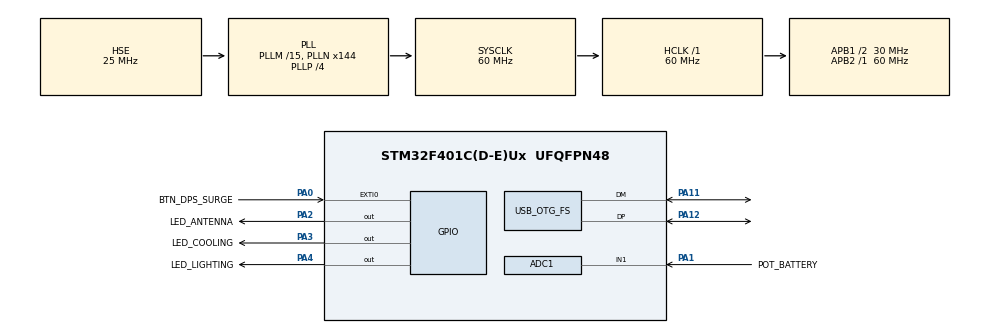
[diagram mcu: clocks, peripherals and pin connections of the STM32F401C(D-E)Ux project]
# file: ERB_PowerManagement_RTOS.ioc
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ADC1.Channel-0\#ChannelRegularConversion=ADC_CHANNEL_1
ADC1.NbrOfConversionFlag=1
ADC1.Rank-0\#ChannelRegularConversion=1
ADC1.SamplingTime-0\#ChannelRegularConversion=ADC_SAMPLETIME_3CYCLES
ADC1.master=1
FREERTOS.Queues01=queueBatteryHandle,4,uint16_t,0,Dynamic,NULL,NULL
FREERTOS.Tasks01=taskBattery,24,128,StartTaskBattery,Default,NULL,Dynamic,NULL,NULL;taskPower,32,128,StartTaskPower,Default,NULL,Dynamic,NULL,NULL;taskSurge,48,128,StartTaskSurge,Default,NULL,Dynamic,NULL,NULL
Mcu.Family=STM32F4
Mcu.Name=STM32F401C(D-E)Ux
Mcu.Package=UFQFPN48
NVIC.EXTI0_IRQn=true\:5\:0\:false\:false\:true\:true\:true\:true\:true
NVIC.OTG_FS_IRQn=true\:5\:0\:false\:false\:true\:true\:false\:true\:true
NVIC.PriorityGroup=NVIC_PRIORITYGROUP_4
NVIC.TIM1_UP_TIM10_IRQn=true\:15\:0\:false\:false\:true\:false\:false\:true\:true
NVIC.TimeBase=TIM1_UP_TIM10_IRQn
NVIC.TimeBaseIP=TIM1
PA0-WKUP.GPIO_Label=BTN_DPS_SURGE
PA0-WKUP.GPIO_ModeDefaultEXTI=GPIO_MODE_IT_FALLING
PA0-WKUP.GPIO_PuPd=GPIO_PULLUP
PA0-WKUP.Signal=GPXTI0
PA1.GPIO_Label=POT_BATTERY
PA1.Signal=ADCx_IN1
PA11.Mode=Device_Only
PA11.Signal=USB_OTG_FS_DM
PA12.Mode=Device_Only
PA12.Signal=USB_OTG_FS_DP
PA13.Mode=Serial_Wire
PA13.Signal=SYS_JTMS-SWDIO
PA14.Mode=Serial_Wire
PA14.Signal=SYS_JTCK-SWCLK
PA2.GPIO_Label=LED_ANTENNA
PA2.Signal=GPIO_Output
PA3.GPIO_Label=LED_COOLING
PA3.Signal=GPIO_Output
PA4.GPIO_Label=LED_LIGHTING
PA4.Signal=GPIO_Output
PH0\ -\ OSC_IN.Mode=HSE-External-Oscillator
PH0\ -\ OSC_IN.Signal=RCC_OSC_IN
PH1\ -\ OSC_OUT.Mode=HSE-External-Oscillator
PH1\ -\ OSC_OUT.Signal=RCC_OSC_OUT
ProjectManager.HeapSize=0x200
ProjectManager.StackSize=0x400
ProjectManager.TargetToolchain=STM32CubeIDE
RCC.48MHZClocksFreq_Value=48000000
RCC.AHBFreq_Value=60000000
RCC.APB1CLKDivider=RCC_HCLK_DIV2
RCC.APB1Freq_Value=30000000
RCC.APB1TimFreq_Value=60000000
RCC.APB2Freq_Value=60000000
RCC.APB2TimFreq_Value=60000000
RCC.CortexFreq_Value=60000000
RCC.HCLKFreq_Value=60000000
RCC.HSE_VALUE=25000000
RCC.HSI_VALUE=16000000
RCC.LSE_VALUE=32768
RCC.PLLM=15
RCC.PLLN=144
RCC.PLLP=RCC_PLLP_DIV4
RCC.PLLQ=5
RCC.SYSCLKFreq_VALUE=60000000
RCC.SYSCLKSource=RCC_SYSCLKSOURCE_PLLCLK
RCC.VCOOutputFreq_Value=240000000
SH.ADCx_IN1.0=ADC1_IN1,IN1
USB_DEVICE.CLASS_NAME_FS=CDC
USB_DEVICE.VirtualMode-CDC_FS=Cdc
USB_DEVICE.VirtualModeFS=Cdc_FS
USB_OTG_FS.VirtualMode=Device_Only
VP_FREERTOS_VS_CMSIS_V2.Mode=CMSIS_V2
VP_RTC_VS_RTC_Activate.Mode=RTC_Enabled
VP_SYS_VS_tim1.Mode=TIM1
VP_USB_DEVICE_VS_USB_DEVICE_CDC_FS.Mode=CDC_FS
board=custom

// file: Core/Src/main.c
/* USER CODE BEGIN Header */
/**
  ******************************************************************************
  * @file           : main.c
  * @brief          : Main program body
  ******************************************************************************
  * @attention
  *
  * Copyright (c) 2026 STMicroelectronics.
  * All rights reserved.
  *
  * This software is licensed under terms that can be found in the LICENSE file
  * in the root directory of this software component.
  * If no LICENSE file comes with this software, it is provided AS-IS.
  *
  ******************************************************************************
  */
/* USER CODE END Header */
#include "main.h"
#include "cmsis_os.h"
#include "usb_device.h"

ADC_HandleTypeDef hadc1;

RTC_HandleTypeDef hrtc;

/* Definitions for taskBattery */
osThreadId_t taskBatteryHandle;
const osThreadAttr_t taskBattery_attributes = {
  .name = "taskBattery",
  .stack_size = 128 * 4,
  .priority = (osPriority_t) osPriorityNormal,
};
/* Definitions for taskPower */
osThreadId_t taskPowerHandle;
const osThreadAttr_t taskPower_attributes = {
  .name = "taskPower",
  .stack_size = 128 * 4,
  .priority = (osPriority_t) osPriorityAboveNormal,
};
/* Definitions for taskSurge */
osThreadId_t taskSurgeHandle;
const osThreadAttr_t taskSurge_attributes = {
  .name = "taskSurge",
  .stack_size = 128 * 4,
  .priority = (osPriority_t) osPriorityRealtime,
};
/* Definitions for queueBatteryHandle */
osMessageQueueId_t queueBatteryHandleHandle;
const osMessageQueueAttr_t queueBatteryHandle_attributes = {
  .name = "queueBatteryHandle"
};
/* USER CODE BEGIN PV */
volatile uint16_t last_battery_percent = 100;
volatile uint32_t surge_counter = 0;
volatile uint8_t surge_protection_active = 0; // 1 = Modo de isolamento pós-raio ativo
/* USER CODE END PV */

void SystemClock_Config(void);
static void MX_GPIO_Init(void);
static void MX_ADC1_Init(void);
static void MX_RTC_Init(void);
void StartTaskBattery(void *argument);
void StartTaskPower(void *argument);
void StartTaskSurge(void *argument);

int main(void)
{

  /* MCU Configuration--------------------------------------------------------*/

  /* Reset of all peripherals, Initializes the Flash interface and the Systick. */
  HAL_Init();

  /* Configure the system clock */
  SystemClock_Config();

  /* Initialize all configured peripherals */
  MX_GPIO_Init();
  MX_ADC1_Init();
  MX_RTC_Init();

  /* Init scheduler */
  osKernelInitialize();

  /* Create the queue(s) */
  /* creation of queueBatteryHandle */
  queueBatteryHandleHandle = osMessageQueueNew (4, sizeof(uint16_t), &queueBatteryHandle_attributes);

  /* Create the thread(s) */
  /* creation of taskBattery */
  taskBatteryHandle = osThreadNew(StartTaskBattery, NULL, &taskBattery_attributes);

  /* creation of taskPower */
  taskPowerHandle = osThreadNew(StartTaskPower, NULL, &taskPower_attributes);

  /* creation of taskSurge */
  taskSurgeHandle = osThreadNew(StartTaskSurge, NULL, &taskSurge_attributes);

  /* Start scheduler */
  osKernelStart();

  /* We should never get here as control is now taken by the scheduler */

  /* Infinite loop */
  while (1)
  {

  }
}

void SystemClock_Config(void)
{
  RCC_OscInitTypeDef RCC_OscInitStruct = {0};
  RCC_ClkInitTypeDef RCC_ClkInitStruct = {0};

  /** Configure the main internal regulator output voltage
  */
  __HAL_RCC_PWR_CLK_ENABLE();
  __HAL_PWR_VOLTAGESCALING_CONFIG(PWR_REGULATOR_VOLTAGE_SCALE2);

  /** Initializes the RCC Oscillators according to the specified parameters
  * in the RCC_OscInitTypeDef structure.
  */
  RCC_OscInitStruct.OscillatorType = RCC_OSCILLATORTYPE_LSI|RCC_OSCILLATORTYPE_HSE;
  RCC_OscInitStruct.HSEState = RCC_HSE_ON;
  RCC_OscInitStruct.LSIState = RCC_LSI_ON;
  RCC_OscInitStruct.PLL.PLLState = RCC_PLL_ON;
  RCC_OscInitStruct.PLL.PLLSource = RCC_PLLSOURCE_HSE;
  RCC_OscInitStruct.PLL.PLLM = 15;
  RCC_OscInitStruct.PLL.PLLN = 144;
  RCC_OscInitStruct.PLL.PLLP = RCC_PLLP_DIV4;
  RCC_OscInitStruct.PLL.PLLQ = 5;
  if (HAL_RCC_OscConfig(&RCC_OscInitStruct) != HAL_OK)
  {
    Error_Handler();
  }

  /** Initializes the CPU, AHB and APB buses clocks
  */
  RCC_ClkInitStruct.ClockType = RCC_CLOCKTYPE_HCLK|RCC_CLOCKTYPE_SYSCLK
                              |RCC_CLOCKTYPE_PCLK1|RCC_CLOCKTYPE_PCLK2;
  RCC_ClkInitStruct.SYSCLKSource = RCC_SYSCLKSOURCE_PLLCLK;
  RCC_ClkInitStruct.AHBCLKDivider = RCC_SYSCLK_DIV1;
  RCC_ClkInitStruct.APB1CLKDivider = RCC_HCLK_DIV2;
  RCC_ClkInitStruct.APB2CLKDivider = RCC_HCLK_DIV1;

  if (HAL_RCC_ClockConfig(&RCC_ClkInitStruct, FLASH_LATENCY_1) != HAL_OK)
  {
    Error_Handler();
  }
}

static void MX_ADC1_Init(void)
{

  ADC_ChannelConfTypeDef sConfig = {0};

  /** Configure the global features of the ADC (Clock, Resolution, Data Alignment and number of conversion)
  */
  hadc1.Instance = ADC1;
  hadc1.Init.ClockPrescaler = ADC_CLOCK_SYNC_PCLK_DIV2;
  hadc1.Init.Resolution = ADC_RESOLUTION_12B;
  hadc1.Init.ScanConvMode = DISABLE;
  hadc1.Init.ContinuousConvMode = DISABLE;
  hadc1.Init.DiscontinuousConvMode = DISABLE;
  hadc1.Init.ExternalTrigConvEdge = ADC_EXTERNALTRIGCONVEDGE_NONE;
  hadc1.Init.ExternalTrigConv = ADC_SOFTWARE_START;
  hadc1.Init.DataAlign = ADC_DATAALIGN_RIGHT;
  hadc1.Init.NbrOfConversion = 1;
  hadc1.Init.DMAContinuousRequests = DISABLE;
  hadc1.Init.EOCSelection = ADC_EOC_SINGLE_CONV;
  if (HAL_ADC_Init(&hadc1) != HAL_OK)
  {
    Error_Handler();
  }

  /** Configure for the selected ADC regular channel its corresponding rank in the sequencer and its sample time.
  */
  sConfig.Channel = ADC_CHANNEL_1;
  sConfig.Rank = 1;
  sConfig.SamplingTime = ADC_SAMPLETIME_3CYCLES;
  if (HAL_ADC_ConfigChannel(&hadc1, &sConfig) != HAL_OK)
  {
    Error_Handler();
  }

}

static void MX_RTC_Init(void)
{

  /** Initialize RTC Only
  */
  hrtc.Instance = RTC;
  hrtc.Init.HourFormat = RTC_HOURFORMAT_24;
  hrtc.Init.AsynchPrediv = 127;
  hrtc.Init.SynchPrediv = 255;
  hrtc.Init.OutPut = RTC_OUTPUT_DISABLE;
  hrtc.Init.OutPutPolarity = RTC_OUTPUT_POLARITY_HIGH;
  hrtc.Init.OutPutType = RTC_OUTPUT_TYPE_OPENDRAIN;
  if (HAL_RTC_Init(&hrtc) != HAL_OK)
  {
    Error_Handler();
  }

}

static void MX_GPIO_Init(void)
{
  GPIO_InitTypeDef GPIO_InitStruct = {0};

  /* GPIO Ports Clock Enable */
  __HAL_RCC_GPIOH_CLK_ENABLE();
  __HAL_RCC_GPIOA_CLK_ENABLE();

  /*Configure GPIO pin Output Level */
  HAL_GPIO_WritePin(GPIOA, LED_ANTENNA_Pin|LED_COOLING_Pin|LED_LIGHTING_Pin, GPIO_PIN_RESET);

  /*Configure GPIO pin : BTN_DPS_SURGE_Pin */
  GPIO_InitStruct.Pin = BTN_DPS_SURGE_Pin;
  GPIO_InitStruct.Mode = GPIO_MODE_IT_FALLING;
  GPIO_InitStruct.Pull = GPIO_PULLUP;
  HAL_GPIO_Init(BTN_DPS_SURGE_GPIO_Port, &GPIO_InitStruct);

  /*Configure GPIO pins : LED_ANTENNA_Pin LED_COOLING_Pin LED_LIGHTING_Pin */
  GPIO_InitStruct.Pin = LED_ANTENNA_Pin|LED_COOLING_Pin|LED_LIGHTING_Pin;
  GPIO_InitStruct.Mode = GPIO_MODE_OUTPUT_PP;
  GPIO_InitStruct.Pull = GPIO_NOPULL;
  GPIO_InitStruct.Speed = GPIO_SPEED_FREQ_LOW;
  HAL_GPIO_Init(GPIOA, &GPIO_InitStruct);

  /* EXTI interrupt init*/
  HAL_NVIC_SetPriority(EXTI0_IRQn, 5, 0);
  HAL_NVIC_EnableIRQ(EXTI0_IRQn);

}

/* USER CODE BEGIN 4 */
// Callback disparado imediatamente quando o botão PA0 é pressionado (Gatilho de Raio)
void HAL_GPIO_EXTI_Callback(uint16_t GPIO_Pin)
{
  if (GPIO_Pin == BTN_DPS_SURGE_Pin)
  {
    // Acorda instantaneamente a tarefa de emergência com prioridade máxima
    osThreadFlagsSet(taskSurgeHandle, 0x01);
  }
}
/* USER CODE END 4 */

void StartTaskBattery(void *argument)
{
  /* init code for USB_DEVICE */
  MX_USB_DEVICE_Init();
  /* USER CODE BEGIN 5 */
  /* Infinite loop */
  for(;;)
  {
    // 1. Dispara a leitura analógica do potenciômetro (PA1)
    HAL_ADC_Start(&hadc1);
    if (HAL_ADC_PollForConversion(&hadc1, 100) == HAL_OK)
    {
      uint32_t adc_raw = HAL_ADC_GetValue(&hadc1); // Lê valor de 0 a 4095
      uint16_t percent = (uint16_t)((adc_raw * 100) / 4095); // Converte para 0 a 100%

      last_battery_percent = percent; // Atualiza a telemetria global

      // Envia a porcentagem para a Fila do FreeRTOS
      osMessageQueuePut(queueBatteryHandleHandle, &percent, 0U, 0U);
    }

    // Amostragem periódica a cada 200 ms (Soft Real-Time)
    osDelay(200);
  }
  /* USER CODE END 5 */
}

void StartTaskPower(void *argument)
{
  /* USER CODE BEGIN StartTaskPower */
  for(;;)
  {
    uint16_t battery_level = 0;

    if (osMessageQueueGet(queueBatteryHandleHandle, &battery_level, NULL, osWaitForever) == osOK)
    {
      // Se o raio caiu, desarma 100% de tudo (Modo Casulo / Isolamento Total)
      if (surge_protection_active)
      {
        HAL_GPIO_WritePin(LED_ANTENNA_GPIO_Port, LED_ANTENNA_Pin, GPIO_PIN_RESET);
        HAL_GPIO_WritePin(LED_COOLING_GPIO_Port, LED_COOLING_Pin, GPIO_PIN_RESET);
        HAL_GPIO_WritePin(LED_LIGHTING_GPIO_Port, LED_LIGHTING_Pin, GPIO_PIN_RESET);
      }
      else
      {
        // --- REGIME NORMAL DE DESCARTE DE BATERIA ---
        if (battery_level > 50)
        {
          // > 50%: Normal (Tudo ligado)
          HAL_GPIO_WritePin(LED_ANTENNA_GPIO_Port, LED_ANTENNA_Pin, GPIO_PIN_SET);
          HAL_GPIO_WritePin(LED_COOLING_GPIO_Port, LED_COOLING_Pin, GPIO_PIN_SET);
          HAL_GPIO_WritePin(LED_LIGHTING_GPIO_Port, LED_LIGHTING_Pin, GPIO_PIN_SET);
        }
        else if (battery_level > 15)
        {
          // 16% a 50%: Alerta (Desliga Iluminação)
          HAL_GPIO_WritePin(LED_ANTENNA_GPIO_Port, LED_ANTENNA_Pin, GPIO_PIN_SET);
          HAL_GPIO_WritePin(LED_COOLING_GPIO_Port, LED_COOLING_Pin, GPIO_PIN_SET);
          HAL_GPIO_WritePin(LED_LIGHTING_GPIO_Port, LED_LIGHTING_Pin, GPIO_PIN_RESET);
        }
        else if (battery_level > 3)
        {
          // 4% a 15%: Crítico (Desliga Climatização, preserva unicamente a Antena)
          HAL_GPIO_WritePin(LED_ANTENNA_GPIO_Port, LED_ANTENNA_Pin, GPIO_PIN_SET);
          HAL_GPIO_WritePin(LED_COOLING_GPIO_Port, LED_COOLING_Pin, GPIO_PIN_RESET);
          HAL_GPIO_WritePin(LED_LIGHTING_GPIO_Port, LED_LIGHTING_Pin, GPIO_PIN_RESET);
        }
        else
        {
          // <= 3%: Bateria Esgotada / Blecaute Total (Apaga TUDO)
          HAL_GPIO_WritePin(LED_ANTENNA_GPIO_Port, LED_ANTENNA_Pin, GPIO_PIN_RESET);
          HAL_GPIO_WritePin(LED_COOLING_GPIO_Port, LED_COOLING_Pin, GPIO_PIN_RESET);
          HAL_GPIO_WritePin(LED_LIGHTING_GPIO_Port, LED_LIGHTING_Pin, GPIO_PIN_RESET);
        }
      }

      // =======================================================================
      // ENVIO DE TELEMETRIA PARA A DASHBOARD WEB (USB CDC)
      // =======================================================================
      uint8_t l1 = (HAL_GPIO_ReadPin(LED_ANTENNA_GPIO_Port, LED_ANTENNA_Pin) == GPIO_PIN_SET) ? 1 : 0;
      uint8_t l2 = (HAL_GPIO_ReadPin(LED_COOLING_GPIO_Port, LED_COOLING_Pin) == GPIO_PIN_SET) ? 1 : 0;
      uint8_t l3 = (HAL_GPIO_ReadPin(LED_LIGHTING_GPIO_Port, LED_LIGHTING_Pin) == GPIO_PIN_SET) ? 1 : 0;

      extern USBD_HandleTypeDef hUsbDeviceFS;
      if (hUsbDeviceFS.dev_state == USBD_STATE_CONFIGURED)
      {
        static char tx_buf[128];
        int len = snprintf(tx_buf, sizeof(tx_buf),
            "{\"bat\":%u,\"l1\":%u,\"l2\":%u,\"l3\":%u,\"casulo\":%u}\r\n",
            battery_level, l1, l2, l3, (surge_protection_active ? 1 : 0));

        CDC_Transmit_FS((uint8_t*)tx_buf, len);
      }
      // =======================================================================
    }
  }
  /* USER CODE END StartTaskPower */
}

void StartTaskSurge(void *argument)
{
  /* USER CODE BEGIN StartTaskSurge */
  for(;;)
  {
    // 1. Aguarda a interrupção de hardware do botão/DPS (PA0)
    osThreadFlagsWait(0x01, osFlagsWaitAny, osWaitForever);

    // 2. Ativa o estado de contingência
    surge_protection_active = 1;

    // 3. Desacoplamento preventivo imediato de 100% das cargas
    HAL_GPIO_WritePin(LED_ANTENNA_GPIO_Port, LED_ANTENNA_Pin, GPIO_PIN_RESET);
    HAL_GPIO_WritePin(LED_COOLING_GPIO_Port, LED_COOLING_Pin, GPIO_PIN_RESET);
    HAL_GPIO_WritePin(LED_LIGHTING_GPIO_Port, LED_LIGHTING_Pin, GPIO_PIN_RESET);

    // 4. Incrementa o contador de surtos (memória não-volátil do RTC BKP)
    // Se você estiver usando a variável global surge_counter:
    surge_counter++;
    #if defined(RTC_BKP_DR1)
      HAL_RTCEx_BKUPWrite(&hrtc, RTC_BKP_DR1, surge_counter);
    #endif

    // 5. Envia o alerta vermelho instantâneo para a dashboard no navegador
    extern USBD_HandleTypeDef hUsbDeviceFS;
    if (hUsbDeviceFS.dev_state == USBD_STATE_CONFIGURED)
    {
      static char surge_buf[80];
      int len = snprintf(surge_buf, sizeof(surge_buf),
          "{\"event\":\"SURGE\",\"count\":%lu,\"casulo\":1}\r\n",
          (unsigned long)surge_counter);
      CDC_Transmit_FS((uint8_t*)surge_buf, len);
    }

    // 6. Janela de amortecimento e isolamento total (Modo Casulo: 3 segundos)
    osDelay(3000);

    // 7. Restabelece a operação normal após o transitório do raio passar
    surge_protection_active = 0;

    // 8. Notifica a dashboard que o modo casulo encerrou
    if (hUsbDeviceFS.dev_state == USBD_STATE_CONFIGURED)
    {
      static char restore_buf[64];
      int len = snprintf(restore_buf, sizeof(restore_buf),
          "{\"event\":\"RESTORE\",\"casulo\":0}\r\n");
      CDC_Transmit_FS((uint8_t*)restore_buf, len);
    }
  }
  /* USER CODE END StartTaskSurge */
}

void HAL_TIM_PeriodElapsedCallback(TIM_HandleTypeDef *htim)
{
  if (htim->Instance == TIM1) {
    HAL_IncTick();
  }
}

void Error_Handler(void)
{
  __disable_irq();
  while (1)
  {
  }
}
